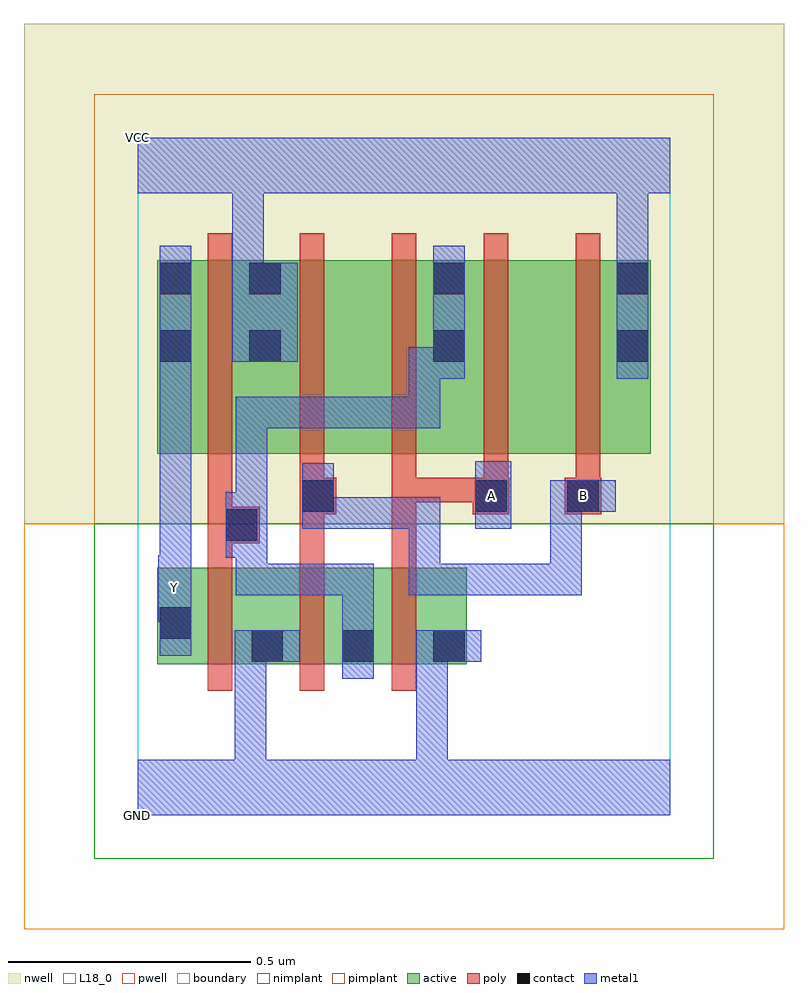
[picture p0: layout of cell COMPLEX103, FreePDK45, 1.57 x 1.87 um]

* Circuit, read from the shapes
.subckt COMPLEX103 A B GND VCC Y
M1 GND n1 Y VSUBS nfet w=0.2u l=0.05u
M2 n1 B GND VSUBS nfet w=0.2u l=0.05u
M3 GND A n1 VSUBS nfet w=0.2u l=0.05u
M4 VCC n1 Y n2 pfet w=0.4u l=0.05u
M5 n3 B VCC n2 pfet w=0.4u l=0.05u
M6 n1 A n3 n2 pfet w=0.4u l=0.05u
M7 n4 A n1 n2 pfet w=0.4u l=0.05u
M8 VCC B n4 n2 pfet w=0.4u l=0.05u
.ends

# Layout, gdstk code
import gdstk
lib = gdstk.Library(unit=1e-6, precision=1e-09)
def R(c, l, rs):  # rectangles x0, y0, x1, y1
    for r in rs: c.add(gdstk.rectangle(r[:2], r[2:], *l))
def A(c, l, x, y, w, h, nx, ny, dx, dy):  # array of equal rectangles
    R(c, l, [(x+i*dx, y+j*dy, x+i*dx+w, y+j*dy+h) for i in range(nx) for j in range(ny)])
active = (1, 0)
pwell = (2, 0)
nwell = (3, 0)
nimplant = (4, 0)
pimplant = (5, 0)
poly = (9, 0)
contact = (10, 0)
metal1 = (11, 0)
L18_0 = (18, 0)
boundary = (235, 0)

complex103 = lib.new_cell('COMPLEX103')
A(complex103, active, 0.225, 0.747, 0.075, 0.4, 3, 1, 0.38, 0)
R(complex103, active, [(0.04,0.312,0.305,0.512), (0.23,0.312,0.305,0.512), (0.23,0.312,0.492,0.512), (0.417,0.312,0.492,0.512), (0.417,0.312,0.68,0.512), (0.605,0.312,0.68,0.512), (0.04,0.347,0.115,0.512), (0.04,0.747,0.115,1.147), (0.04,0.747,0.3,1.147), (0.225,0.747,0.455,1.147), (0.455,0.747,0.68,1.147), (0.605,0.747,0.835,1.147), (0.835,0.747,1.06,1.147)])
R(complex103, pwell, [(-0.235,-0.235,1.335,0.602)])
R(complex103, nwell, [(-0.235,0.602,1.335,1.635)])
R(complex103, nimplant, [(-0.09,-0.09,1.19,0.602)])
R(complex103, pimplant, [(-0.09,0.602,1.19,1.49)])
A(complex103, poly, 0.145, 0.257, 0.05, 0.31, 3, 1, 0.19, 0)
A(complex103, poly, 0.335, 0.647, 0.05, 0.095, 4, 1, 0.19, 0)
A(complex103, poly, 0.145, 0.692, 0.05, 0.51, 5, 1, 0.19, 0)
R(complex103, poly, [(0.145,0.517,0.195,0.612), (0.335,0.517,0.385,0.672), (0.525,0.517,0.575,0.697), (0.145,0.562,0.252,0.637), (0.145,0.587,0.195,0.742), (0.335,0.622,0.41,0.697), (0.692,0.622,0.767,0.697), (0.882,0.622,0.957,0.697), (0.525,0.647,0.575,0.697), (0.525,0.647,0.742,0.697), (0.692,0.647,0.742,0.697), (0.692,0.647,0.742,0.697)])
A(complex103, contact, 0.23, 0.937, 0.065, 0.065, 3, 2, 0.38, 0.14)
R(complex103, contact, [(0.235,0.317,0.3,0.382), (0.422,0.317,0.487,0.382), (0.61,0.317,0.675,0.382), (0.045,0.365,0.11,0.43), (0.182,0.567,0.247,0.632), (0.34,0.627,0.405,0.692), (0.697,0.627,0.762,0.692), (0.887,0.627,0.952,0.692), (0.045,0.937,0.11,1.002), (0.045,1.077,0.11,1.142)])
R(complex103, metal1, [(0,0,1.1,0.115), (0.2,0.05,0.265,0.115), (0.2,0.05,0.265,0.115), (0.2,0.05,0.265,0.115), (0.2,0.05,0.265,0.115), (0.2,0.05,0.265,0.382), (0.575,0.05,0.64,0.115), (0.575,0.05,0.64,0.115), (0.575,0.05,0.64,0.382), (0.422,0.282,0.487,0.417), (0.2,0.317,0.335,0.382), (0.575,0.317,0.64,0.382), (0.575,0.317,0.64,0.382), (0.575,0.317,0.71,0.382), (0.045,0.33,0.11,0.465), (0.422,0.352,0.487,0.417), (0.422,0.352,0.487,0.52), (0.042,0.4,0.11,0.537), (0.045,0.4,0.11,0.465), (0.202,0.455,0.267,0.52), (0.202,0.455,0.487,0.52), (0.202,0.455,0.267,0.597), (0.56,0.455,0.625,0.52), (0.56,0.455,0.78,0.52), (0.56,0.455,0.625,0.657), (0.715,0.455,0.78,0.52), (0.715,0.455,0.917,0.52), (0.852,0.455,0.917,0.52), (0.852,0.455,0.917,0.692), (0.045,0.472,0.11,0.967), (0.182,0.532,0.247,0.667), (0.182,0.532,0.267,0.597), (0.202,0.532,0.267,0.597), (0.202,0.532,0.267,0.865), (0.34,0.592,0.405,0.657), (0.34,0.592,0.405,0.657), (0.34,0.592,0.625,0.657), (0.34,0.592,0.405,0.727), (0.56,0.592,0.625,0.657), (0.56,0.592,0.625,0.657), (0.56,0.592,0.625,0.657), (0.697,0.592,0.772,0.732), (0.852,0.627,0.917,0.692), (0.852,0.627,0.917,0.692), (0.852,0.627,0.987,0.692), (0.202,0.8,0.267,0.865), (0.202,0.8,0.405,0.865), (0.34,0.8,0.405,0.865), (0.34,0.8,0.405,0.865), (0.34,0.8,0.405,0.865), (0.34,0.8,0.625,0.865), (0.56,0.8,0.625,0.967), (0.045,0.902,0.11,1.177), (0.56,0.902,0.675,0.967), (0.61,0.902,0.675,1.177), (0.99,0.902,1.055,1.177), (0.195,0.937,0.33,1.142), (0.195,1.077,0.26,1.35), (0.99,1.112,1.055,1.35), (0,1.285,1.1,1.4), (0.195,1.285,0.26,1.35), (0.195,1.285,0.26,1.35), (0.99,1.285,1.055,1.35), (0.99,1.285,1.055,1.35)])
R(complex103, L18_0, [(0,0,1.1,0.115), (0.2,0.05,0.265,0.115), (0.2,0.05,0.265,0.115), (0.2,0.05,0.265,0.115), (0.2,0.05,0.265,0.115), (0.2,0.05,0.265,0.382), (0.575,0.05,0.64,0.115), (0.575,0.05,0.64,0.115), (0.575,0.05,0.64,0.382), (0.2,0.317,0.335,0.382), (0.575,0.317,0.64,0.382), (0.575,0.317,0.64,0.382), (0.575,0.317,0.71,0.382), (0.045,0.33,0.11,0.465), (0.042,0.4,0.11,0.537), (0.045,0.4,0.11,0.465), (0.042,0.437,0.107,0.502), (0.56,0.455,0.625,0.52), (0.56,0.455,0.625,0.657), (0.56,0.455,0.78,0.52), (0.715,0.455,0.78,0.52), (0.715,0.455,0.917,0.52), (0.852,0.455,0.917,0.52), (0.852,0.455,0.917,0.692), (0.045,0.472,0.11,0.967), (0.34,0.592,0.405,0.727), (0.34,0.592,0.405,0.657), (0.34,0.592,0.405,0.657), (0.34,0.592,0.625,0.657), (0.56,0.592,0.625,0.657), (0.56,0.592,0.625,0.657), (0.56,0.592,0.625,0.657), (0.697,0.592,0.772,0.732), (0.697,0.627,0.762,0.692), (0.852,0.627,0.917,0.692), (0.852,0.627,0.917,0.692), (0.852,0.627,0.987,0.692), (0.887,0.627,0.952,0.692), (0.045,0.902,0.11,1.177), (0.99,0.902,1.055,1.177), (0.195,0.937,0.33,1.142), (0.195,1.077,0.26,1.35), (0.99,1.112,1.055,1.35), (0,1.285,1.1,1.4), (0.195,1.285,0.26,1.35), (0.195,1.285,0.26,1.35), (0.99,1.285,1.055,1.35), (0.99,1.285,1.055,1.35)])
R(complex103, boundary, [(0,0,1.1,1.4)])
complex103.add(gdstk.Label('A', (0.73,0.66), layer=11, texttype=0))
complex103.add(gdstk.Label('B', (0.92,0.66), layer=11, texttype=0))
complex103.add(gdstk.Label('Y', (0.075,0.47), layer=11, texttype=0))
complex103.add(gdstk.Label('VCC', (0,1.4), layer=11, texttype=0))
complex103.add(gdstk.Label('GND', (0,0), layer=11, texttype=0))

lib.write_gds('COMPLEX103.gds')
